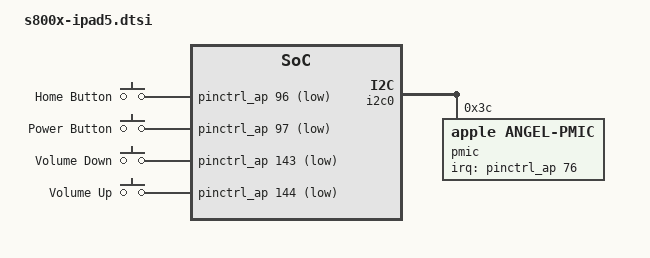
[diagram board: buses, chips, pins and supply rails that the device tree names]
// SPDX-License-Identifier: GPL-2.0+ OR MIT
/*
 * Apple iPad 5 common device tree
 *
 * Copyright (c) 2022, Konrad Dybcio <konradybcio@kernel.org>
 */

#include "s800-0-3-common.dtsi"
#include <dt-bindings/input/input.h>
#include <dt-bindings/interrupt-controller/apple-aic.h>
#include <dt-bindings/interrupt-controller/irq.h>

/ {
	chassis-type = "tablet";

	/*
	 * Secure Enclave. Inert unless the sep-a9 driver is enabled
	 * (sep_a9.enable=1); the mailbox sits 0x4000 into the block.
	 */
	sep: sep@20da00000 {
		compatible = "apple,s8003-sep", "apple,s8000-sep";
		reg = <0x2 0x0da00000 0x0 0x10000>;
		interrupt-parent = <&aic>;
		interrupts = <AIC_IRQ 99 IRQ_TYPE_LEVEL_HIGH>,
			     <AIC_IRQ 98 IRQ_TYPE_LEVEL_HIGH>,
			     <AIC_IRQ 101 IRQ_TYPE_LEVEL_HIGH>,
			     <AIC_IRQ 100 IRQ_TYPE_LEVEL_HIGH>;
	};

	gpio-keys {
		compatible = "gpio-keys";

		button-home {
			label = "Home Button";
			gpios = <&pinctrl_ap 96 GPIO_ACTIVE_LOW>;
			linux,code = <KEY_HOMEPAGE>;
			wakeup-source;
		};

		button-power {
			label = "Power Button";
			gpios = <&pinctrl_ap 97 GPIO_ACTIVE_LOW>;
			linux,code = <KEY_POWER>;
			wakeup-source;
		};

		button-voldown {
			label = "Volume Down";
			gpios = <&pinctrl_ap 143 GPIO_ACTIVE_LOW>;
			linux,code = <KEY_VOLUMEDOWN>;
		};

		button-volup {
			label = "Volume Up";
			gpios = <&pinctrl_ap 144 GPIO_ACTIVE_LOW>;
			linux,code = <KEY_VOLUMEUP>;
		};
	};
};

&framebuffer0 {
	power-domains = <&ps_disp0 &ps_dp>;
};

/*
 * The framebuffer depends on the display pipe and eDP link that the boot
 * loader set up, and both reset when these power-domains are powered off.
 * That happens on suspend, when genpd powers off the framebuffer's domains
 * in the noirq phase. Mark them as always on until a display driver can
 * bring the panel back up.
 */
&ps_disp0 {
	apple,always-on;
};

&ps_dp {
	apple,always-on;
};

&i2c0 {
	status = "okay";

	pmic@3c {
		compatible = "apple,angel-pmic", "apple,i2c-pmic";
		reg = <0x3c>;
		#address-cells = <1>;
		#size-cells = <1>;

		/* D2365 event line: ADT GPIO 0x4c, not CPU PMU AIC 76. */
		interrupt-parent = <&pinctrl_ap>;
		interrupts = <76 IRQ_TYPE_LEVEL_LOW>;
		wakeup-source;

		/* Child event specifiers need a PMIC irqchip before use. */
		interrupt-controller;
		#interrupt-cells = <1>;

		/* ADT j71s/j71t/j72s/j72t: usb-input-limit-max = 0x960 mA. */
		charger@180 {
			reg = <0x180 0x1e>, <0xa00 0x0d>;
			reg-names = "status", "control";
			apple,usb-input-limit-max-microamp = <2400000>;
		};

		rtc@500 {
			compatible = "apple,angel-pmic-rtc", "apple,antigua-pmic-rtc";
			reg = <0x500 0x10>;
			nvmem-cells = <&rtc_offset>;
			nvmem-cell-names = "rtc_offset";
		};

		nvmem@5000 {
			compatible = "apple,pmic-nvmem";
			reg = <0x5000 0x28>;

			nvmem-layout {
				compatible = "fixed-layout";
				#address-cells = <1>;
				#size-cells = <1>;

				rtc_offset: rtc-offset@4 {
					reg = <0x4 0x4>;
				};
			};
		};
	};
};
